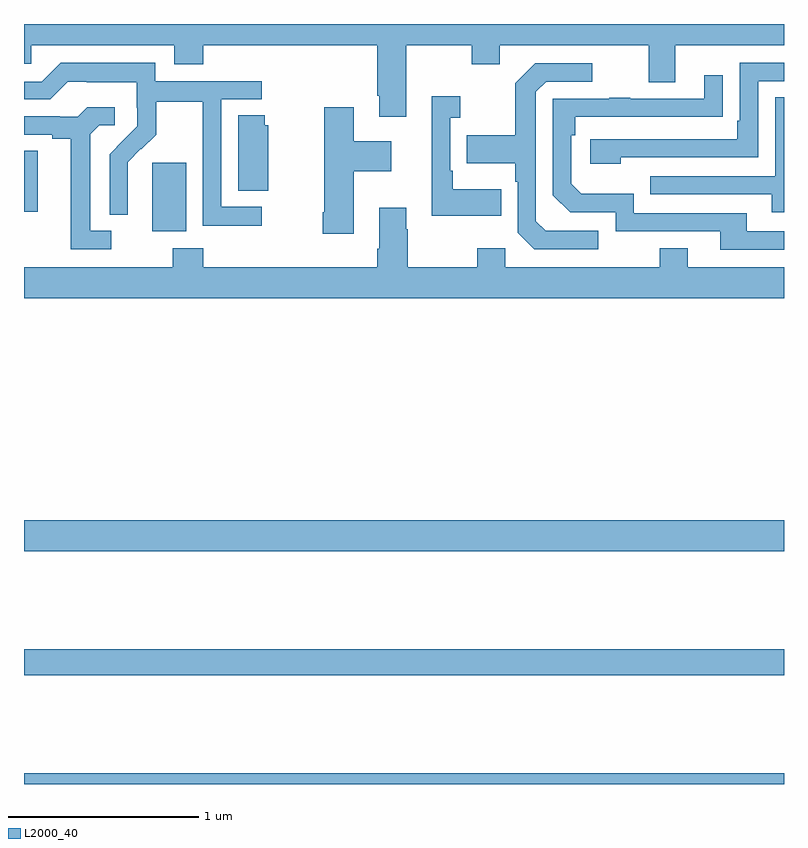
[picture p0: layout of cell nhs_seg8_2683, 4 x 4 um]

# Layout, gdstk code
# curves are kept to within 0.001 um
import gdstk
lib = gdstk.Library(unit=1e-6, precision=1e-09)
def R(c, l, rs):  # rectangles x0, y0, x1, y1
    for r in rs: c.add(gdstk.rectangle(r[:2], r[2:], *l))
def P(c, l, *ps):  # polygons
    for p in ps: c.add(gdstk.Polygon(p, *l))
L2000_40 = (2000, 40)

nhs_seg8_2683 = lib.new_cell('nhs_seg8_2683')
R(nhs_seg8_2683, L2000_40, [(279,1157.9,283,1157.956), (279,1158.472,283,1158.608), (279,1159.124,283,1159.288), (279.674,1160.81,279.853,1161.171), (279,1160.913,279.073,1161.233)])
P(nhs_seg8_2683, L2000_40, [(281.356,1161.689),(281.503,1161.689),(281.503,1161.788),(282.287,1161.788),(282.287,1161.594),(282.427,1161.594),(282.427,1161.788),(283,1161.788),(283,1161.9),(279,1161.9),(279,1161.69),(279.039,1161.69),(279.039,1161.788),(279.791,1161.788),(279.791,1161.689),(279.944,1161.689),(279.944,1161.788),(280.859,1161.788),(280.859,1161.523),(280.871,1161.523),(280.871,1161.411),(281.011,1161.411),(281.011,1161.788),(281.356,1161.788)],
  [(280.252,1160.937),(280.038,1160.937),(280.038,1161.504),(280.252,1161.504),(280.252,1161.6),(279.69,1161.6),(279.69,1161.697),(279.193,1161.697),(279.093,1161.597),(279,1161.597),(279,1161.504),(279.138,1161.504),(279.231,1161.597),(279.331,1161.597),(279.331,1161.593),(279.594,1161.593),(279.594,1161.459),(279.596,1161.459),(279.596,1161.362),(279.45,1161.214),(279.45,1160.896),(279.546,1160.896),(279.545,1161.173),(279.615,1161.243),(279.618,1161.24),(279.695,1161.317),(279.695,1161.492),(279.94,1161.492),(279.94,1161.268),(279.942,1161.268),(279.942,1160.839),(280.252,1160.839)],
  [(282.14,1161.198),(282.864,1161.198),(282.864,1161.6),(283,1161.6),(283,1161.696),(282.768,1161.696),(282.768,1161.391),(282.755,1161.391),(282.755,1161.294),(281.979,1161.294),(281.979,1161.164),(282.14,1161.164)],
  [(282.022,1160.811),(281.745,1160.811),(281.694,1160.862),(281.694,1161.543),(281.748,1161.597),(281.992,1161.597),(281.992,1161.693),(281.691,1161.693),(281.586,1161.587),(281.586,1161.315),(281.329,1161.315),(281.329,1161.167),(281.586,1161.167),(281.586,1161.071),(281.598,1161.071),(281.598,1160.802),(281.685,1160.715),(282.022,1160.715)],
  [(283,1160.808),(282.805,1160.808),(282.805,1160.904),(282.21,1160.904),(282.21,1161.007),(281.933,1161.007),(281.88,1161.06),(281.88,1161.314),(281.9,1161.314),(281.9,1161.411),(282.677,1161.412),(282.677,1161.631),(282.581,1161.631),(282.581,1161.507),(282.191,1161.507),(282.191,1161.512),(282.079,1161.512),(282.079,1161.507),(281.784,1161.507),(281.784,1161),(281.874,1160.91),(282.114,1160.91),(282.114,1160.808),(282.665,1160.808),(282.665,1160.712),(283,1160.712)],
  [(281.513,1161.031),(281.257,1161.031),(281.257,1161.127),(281.244,1161.127),(281.244,1161.407),(281.296,1161.407),(281.296,1161.52),(281.147,1161.52),(281.147,1160.891),(281.513,1160.891)],
  [(283,1161.515),(282.954,1161.515),(282.954,1161.099),(282.295,1161.099),(282.295,1161.003),(282.935,1161.003),(282.935,1160.909),(283,1160.909)],
  [(280.735,1161.125),(280.933,1161.125),(280.933,1161.283),(280.735,1161.283),(280.735,1161.463),(280.58,1161.463),(280.58,1160.908),(280.573,1160.908),(280.573,1160.796),(280.735,1160.796)],
  [(279.46,1160.811),(279.349,1160.811),(279.349,1161.319),(279.396,1161.366),(279.478,1161.366),(279.478,1161.463),(279.334,1161.463),(279.282,1161.411),(279.188,1161.411),(279.188,1161.414),(279,1161.414),(279,1161.318),(279.149,1161.318),(279.149,1161.296),(279.245,1161.296),(279.245,1160.715),(279.46,1160.715)],
  [(280.285,1161.366),(280.266,1161.366),(280.266,1161.419),(280.127,1161.419),(280.127,1161.022),(280.285,1161.022)],
  [(283,1160.62),(282.493,1160.62),(282.493,1160.719),(282.346,1160.719),(282.346,1160.62),(281.532,1160.62),(281.532,1160.719),(281.386,1160.719),(281.386,1160.62),(281.019,1160.62),(281.019,1160.819),(281.011,1160.819),(281.011,1160.932),(280.871,1160.932),(280.871,1160.716),(280.859,1160.716),(280.859,1160.62),(279.944,1160.62),(279.944,1160.719),(279.784,1160.719),(279.784,1160.62),(279,1160.62),(279,1160.456),(283,1160.456)])

lib.write_gds('nhs_seg8_2683.gds')
